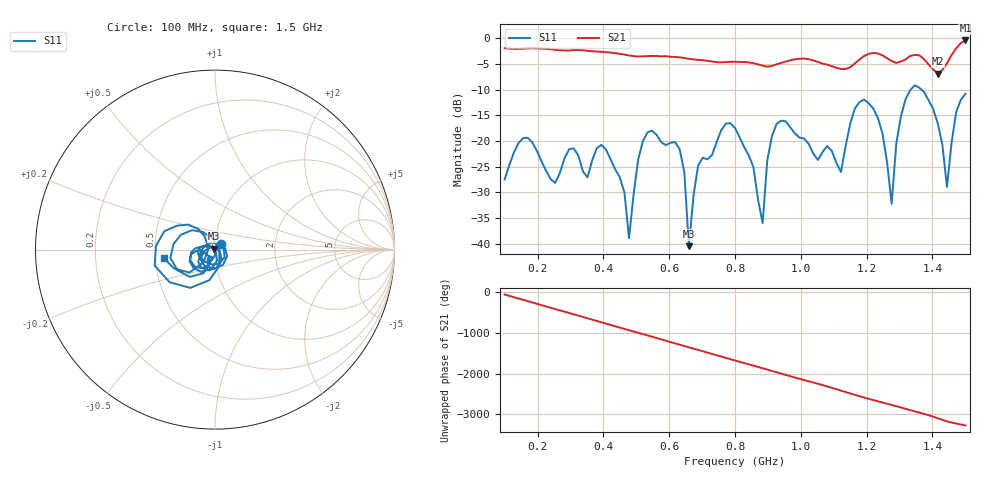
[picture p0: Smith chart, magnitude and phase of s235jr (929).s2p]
! NanoVNA-App
! Date: 2025-09-25 15:11:24
! Start: 100MHz Stop: 1,5GHz Points: 101
! S-Parameter data: F S11 S21 S12 S22
# Hz S RI R 50
!  Frequency  S11_Real  S11_Imag  S21_Real  S21_Imag  S12_Real  S12_Imag  S22_Real  S22_Imag
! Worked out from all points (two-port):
!   101 points, 100 MHz to 1.5 GHz, reference 50 ohm
!   highest |S21| = -0.45 dB at 1.5 GHz (marker M1); lowest = -6.9 dB at 1.416 GHz (marker M2)
!   |S21| within 3 dB of the highest: start of sweep to 486.8 MHz; 1.193 GHz to 1.251 GHz (57.39 MHz wide, 4.7 % of centre) (the widest 2 of 5)
!   lowest |S11| = -40.4 dB at 660 MHz (marker M3), VSWR 1.02, Z = 49.3 + j0.603 ohm
!   |S11| at or under -10 dB: start of sweep to 1.334 GHz; 1.366 GHz to end of sweep
!   S12 and S22 are empty: the file has one direction only
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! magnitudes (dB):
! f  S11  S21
! 100 MHz  -27.5  -2.0
! 156 MHz  -19.4  -2.1
! 338 MHz  -25.9  -2.4
! 408 MHz  -21.6  -2.7
! 478 MHz  -38.9  -3.4
! 520 MHz  -20.0  -3.5
! 576 MHz  -20.2  -3.6
! 632 MHz  -21.6  -3.7
! 660 MHz  -40.4  -4.0
! 688 MHz  -24.8  -4.2
! 800 MHz  -17.5  -4.6
! 884 MHz  -35.9  -5.3
! 926 MHz  -16.7  -5.1
! 1.038 GHz  -22.5  -4.3
! 1.122 GHz  -26.0  -6.0
! 1.192 GHz  -11.9  -3.5
! 1.248 GHz  -18.5  -3.3
! 1.276 GHz  -32.2  -4.4
! 1.332 GHz  -10.1  -3.5
! 1.416 GHz  -16.6  -6.9
! 1.444 GHz  -28.9  -4.9
! 1.5 GHz  -10.8  -0.5
